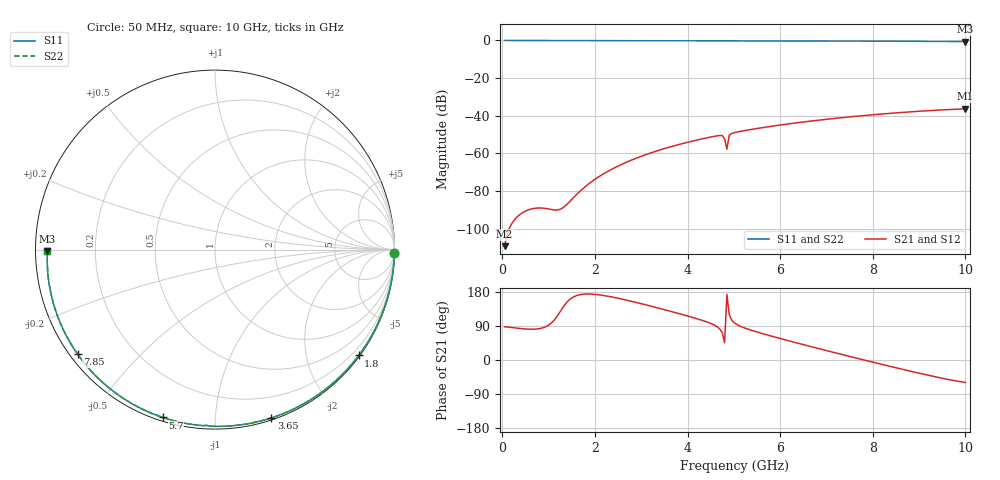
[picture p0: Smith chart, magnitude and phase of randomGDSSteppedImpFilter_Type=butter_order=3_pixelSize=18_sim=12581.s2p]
! freq	dB(S11)	phase(S11)	dB(S12)	phase(S12)
!  dB(S21)	phase(S21)	dB(S22)	phase(S22)
!S-par simulation data
#  GHz  S  DB  R 50
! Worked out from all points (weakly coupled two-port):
!   200 points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, 50 MHz to 10 GHz, reference 50 ohm
!   highest |S21| = -36.29 dB at 10 GHz (marker M1); lowest = -109.2 dB at 50 MHz (marker M2)
!   lowest |S11| = -0.6 dB at 10 GHz (marker M3), VSWR 29.19, Z = 1.71 - j0.23 ohm
!   |S11| at or under -10 dB: nowhere
!   |S22| runs from -0.6 to 0.0 dB; largest |S21 - S12| = 0
!   S11 on the Smith chart (normalised r, x): 50 MHz: open; 1.8 GHz: 0.03, -3.04; 3.65 GHz: 0.02, -1.39; 5.7 GHz: 0.02, -0.74; 7.85 GHz: 0.02, -0.34; 10 GHz: 0.03, -0.00
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0.05  -0.00 -1.0  -109.24 87.6  -109.24 87.6  -0.00 -1.0
0.85  -0.02 -17.4  -88.97 84.0  -88.97 84.0  -0.02 -17.4
1.65  -0.04 -33.4  -80.71 171.7  -80.71 171.7  -0.04 -33.4
1.75  -0.05 -35.4  -78.48 173.7  -78.48 173.7  -0.05 -35.4
1.8  -0.05 -36.4  -77.43 174.0  -77.43 174.0  -0.05 -36.4
2.15  -0.06 -43.2  -71.36 170.9  -71.36 170.9  -0.06 -43.2
2.5  -0.06 -50.0  -66.70 163.0  -66.70 163.0  -0.06 -50.0
2.9  -0.07 -57.6  -62.45 151.7  -62.45 151.7  -0.07 -57.6
3.4  -0.09 -66.9  -58.18 136.1  -58.18 136.1  -0.09 -66.9
3.65  -0.10 -71.5  -56.35 128.0  -56.35 128.0  -0.10 -71.5
4.7  -0.13 -90.3  -50.47 81.1  -50.47 81.1  -0.13 -90.3
4.75  -0.14 -91.2  -50.53 71.7  -50.53 71.7  -0.14 -91.2
4.8  -0.15 -92.1  -52.21 45.8  -52.21 45.8  -0.15 -92.1
4.85  -0.17 -92.7  -57.72 172.8  -57.72 172.8  -0.17 -92.7
4.9  -0.15 -93.6  -50.35 120.1  -50.35 120.1  -0.15 -93.6
5.05  -0.15 -96.2  -48.73 94.7  -48.73 94.7  -0.15 -96.2
5.7  -0.18 -107.3  -45.98 66.9  -45.98 66.9  -0.18 -107.3
6.7  -0.24 -123.9  -42.70 34.3  -42.70 34.3  -0.24 -123.9
7.85  -0.34 -142.7  -39.79 -1.2  -39.79 -1.2  -0.34 -142.7
8.35  -0.38 -151.0  -38.75 -16.1  -38.75 -16.1  -0.38 -151.0
9.2  -0.48 -165.3  -37.29 -40.3  -37.29 -40.3  -0.48 -165.3
10  -0.60 -179.5  -36.29 -59.3  -36.29 -59.3  -0.60 -179.5
